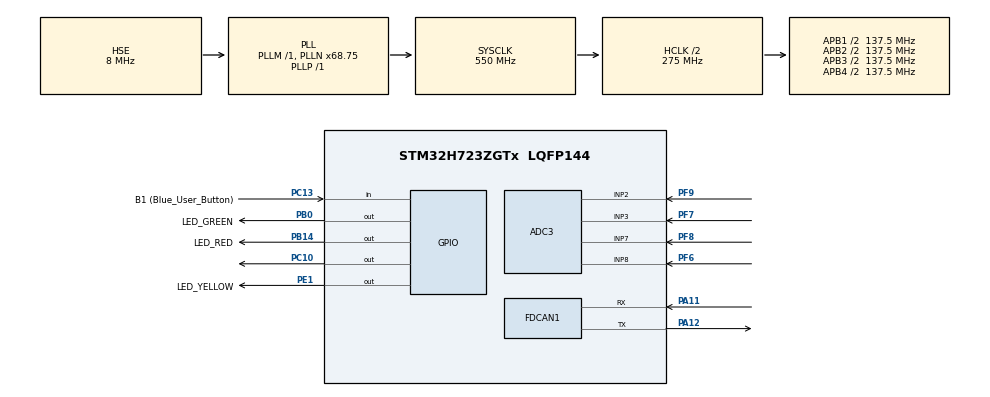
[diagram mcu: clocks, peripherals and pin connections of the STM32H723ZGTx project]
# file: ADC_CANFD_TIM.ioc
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ADC3.Channel-0\#ChannelRegularConversion=ADC_CHANNEL_8
ADC3.Channel-1\#ChannelRegularConversion=ADC_CHANNEL_3
ADC3.Channel-2\#ChannelRegularConversion=ADC_CHANNEL_7
ADC3.Channel-3\#ChannelRegularConversion=ADC_CHANNEL_2
ADC3.ClockPrescalerADC3=ADC_CLOCK_ASYNC_DIV1
ADC3.ContinuousConvMode=ENABLE
ADC3.ConversionDataManagement=ADC_CONVERSIONDATA_DMA_CIRCULAR
ADC3.DMAContinuousRequests=DISABLE
ADC3.EOCSelection=ADC_EOC_SEQ_CONV
ADC3.NbrOfConversion=4
ADC3.NbrOfConversionFlag=1
ADC3.OffsetNumber-0\#ChannelRegularConversion=ADC_OFFSET_NONE
ADC3.OffsetNumber-1\#ChannelRegularConversion=ADC_OFFSET_NONE
ADC3.OffsetNumber-2\#ChannelRegularConversion=ADC_OFFSET_NONE
ADC3.OffsetNumber-3\#ChannelRegularConversion=ADC_OFFSET_NONE
ADC3.OffsetSign-0\#ChannelRegularConversion=ADC3_OFFSET_SIGN_POSITIVE
ADC3.OffsetSign-1\#ChannelRegularConversion=ADC3_OFFSET_SIGN_POSITIVE
ADC3.OffsetSign-2\#ChannelRegularConversion=ADC3_OFFSET_SIGN_NEGATIVE
ADC3.OffsetSign-3\#ChannelRegularConversion=ADC3_OFFSET_SIGN_NEGATIVE
ADC3.Overrun=ADC_OVR_DATA_PRESERVED
ADC3.Rank-0\#ChannelRegularConversion=1
ADC3.Rank-1\#ChannelRegularConversion=2
ADC3.Rank-2\#ChannelRegularConversion=3
ADC3.Rank-3\#ChannelRegularConversion=4
ADC3.SamplingTime-0\#ChannelRegularConversion=ADC3_SAMPLETIME_12CYCLES_5
ADC3.SamplingTime-1\#ChannelRegularConversion=ADC3_SAMPLETIME_12CYCLES_5
ADC3.SamplingTime-2\#ChannelRegularConversion=ADC3_SAMPLETIME_12CYCLES_5
ADC3.SamplingTime-3\#ChannelRegularConversion=ADC3_SAMPLETIME_12CYCLES_5
CORTEX_M7.AccessPermission-Cortex_Memory_Protection_Unit_Region0_Settings=MPU_REGION_FULL_ACCESS
CORTEX_M7.BaseAddress-Cortex_Memory_Protection_Unit_Region0_Settings=0x30000000
CORTEX_M7.Enable-Cortex_Memory_Protection_Unit_Region0_Settings=MPU_REGION_ENABLE
CORTEX_M7.IsShareable-Cortex_Memory_Protection_Unit_Region0_Settings=MPU_ACCESS_SHAREABLE
CORTEX_M7.MPU_Control=MPU_HFNMI_PRIVDEF
CORTEX_M7.Size-Cortex_Memory_Protection_Unit_Region0_Settings=MPU_REGION_SIZE_32B
CORTEX_M7.TypeExtField-Cortex_Memory_Protection_Unit_Region0_Settings=MPU_TEX_LEVEL1
Dma.ADC3.0.Direction=DMA_PERIPH_TO_MEMORY
Dma.ADC3.0.EventEnable=DISABLE
Dma.ADC3.0.FIFOMode=DMA_FIFOMODE_DISABLE
Dma.ADC3.0.Instance=DMA1_Stream0
Dma.ADC3.0.MemDataAlignment=DMA_MDATAALIGN_HALFWORD
Dma.ADC3.0.MemInc=DMA_MINC_ENABLE
Dma.ADC3.0.Mode=DMA_CIRCULAR
Dma.ADC3.0.PeriphDataAlignment=DMA_PDATAALIGN_HALFWORD
Dma.ADC3.0.PeriphInc=DMA_PINC_DISABLE
Dma.ADC3.0.Polarity=HAL_DMAMUX_REQ_GEN_RISING
Dma.ADC3.0.Priority=DMA_PRIORITY_VERY_HIGH
Dma.ADC3.0.RequestNumber=1
Dma.ADC3.0.SignalID=NONE
Dma.ADC3.0.SyncEnable=DISABLE
Dma.ADC3.0.SyncPolarity=HAL_DMAMUX_SYNC_NO_EVENT
Dma.ADC3.0.SyncRequestNumber=1
Dma.ADC3.0.SyncSignalID=NONE
Dma.Request0=ADC3
FDCAN1.AutoRetransmission=ENABLE
FDCAN1.CalculateBaudRateNominal=1432291
FDCAN1.CalculateTimeBitNominal=698
FDCAN1.CalculateTimeQuantumNominal=43.63636363636363
FDCAN1.FrameFormat=FDCAN_FRAME_FD_NO_BRS
FDCAN1.Mode=FDCAN_MODE_EXTERNAL_LOOPBACK
FDCAN1.NominalPrescaler=6
FDCAN1.NominalTimeSeg1=13
FDCAN1.NominalTimeSeg2=2
FDCAN1.RxBufferSize=FDCAN_DATA_BYTES_8
FDCAN1.RxFifo0ElmtSize=FDCAN_DATA_BYTES_12
FDCAN1.RxFifo0ElmtsNbr=1
FDCAN1.StdFiltersNbr=1
FDCAN1.TxElmtSize=FDCAN_DATA_BYTES_12
FDCAN1.TxFifoQueueElmtsNbr=1
FDCAN1.TxFifoQueueMode=FDCAN_TX_FIFO_OPERATION
Mcu.Family=STM32H7
Mcu.Name=STM32H723ZGTx
Mcu.Package=LQFP144
NVIC.ADC3_IRQn=true\:0\:0\:false\:false\:true\:true\:true\:true
NVIC.DMA1_Stream0_IRQn=true\:0\:0\:false\:false\:true\:false\:true\:true
NVIC.FDCAN1_IT0_IRQn=true\:0\:0\:false\:false\:true\:true\:true\:true
NVIC.PriorityGroup=NVIC_PRIORITYGROUP_4
NVIC.TIM8_UP_TIM13_IRQn=true\:0\:0\:false\:false\:true\:true\:true\:true
PA1.GPIO_Label=RMII_REF_CLK
PA1.Signal=ETH_REF_CLK
PA11.Mode=FDCAN_Activate
PA11.Signal=FDCAN1_RX
PA12.Mode=FDCAN_Activate
PA12.Signal=FDCAN1_TX
PA13(JTMS/SWDIO).GPIO_Label=SWDIO
PA13(JTMS/SWDIO).Signal=DEBUG_JTMS-SWDIO
PA14(JTCK/SWCLK).GPIO_Label=SWCLK
PA14(JTCK/SWCLK).Signal=DEBUG_JTCK-SWCLK
PA2.GPIO_Label=RMII_MDIO
PA2.Signal=ETH_MDIO
PA7.GPIO_Label=RMII_CRS_DV
PA7.Signal=ETH_CRS_DV
PB0.GPIO_Label=LED_GREEN
PB0.Signal=GPIO_Output
PB13.GPIO_Label=RMII_TXD1
PB13.Signal=ETH_TXD1
PB14.GPIO_Label=LED_RED
PB14.Signal=GPIO_Output
PB3(JTDO/TRACESWO).GPIO_Label=SWO
PB3(JTDO/TRACESWO).Signal=DEBUG_JTDO-SWO
PC1.GPIO_Label=RMII_MDC
PC1.Signal=ETH_MDC
PC10.Signal=GPIO_Output
PC13.GPIO_Label=B1 (Blue_User_Button)
PC13.Signal=GPIO_Input
PC14-OSC32_IN.Signal=RCC_OSC32_IN
PC15-OSC32_OUT.Signal=RCC_OSC32_OUT
PC4.GPIO_Label=RMII_RXD0
PC4.Signal=ETH_RXD0
PC5.GPIO_Label=RMII_RXD1
PC5.Signal=ETH_RXD1
PD8.GPIO_Label=STLK_VCP_RX
PD8.Signal=USART3_TX
PD9.GPIO_Label=STLK_VCP_TX
PD9.Signal=USART3_RX
PE1.GPIO_Label=LED_YELLOW
PE1.Signal=GPIO_Output
PF6.Mode=IN8-Single-Ended
PF6.Signal=ADC3_INP8
PF7.Mode=IN3-Single-Ended
PF7.Signal=ADC3_INP3
PF8.Mode=IN7-Single-Ended
PF8.Signal=ADC3_INP7
PF9.Mode=IN2-Single-Ended
PF9.Signal=ADC3_INP2
PG11.GPIO_Label=RMII_TX_EN
PG11.Signal=ETH_TX_EN
PG13.GPIO_Label=RMII_TXD0
PG13.Signal=ETH_TXD0
PH0-OSC_IN.GPIO_Label=MCO
PH0-OSC_IN.Mode=HSE-External-Oscillator
PH0-OSC_IN.Signal=RCC_OSC_IN
PH1-OSC_OUT.Mode=HSE-External-Oscillator
PH1-OSC_OUT.Signal=RCC_OSC_OUT
ProjectManager.HeapSize=0x200
ProjectManager.StackSize=0x400
ProjectManager.TargetToolchain=STM32CubeIDE
RCC.ADCFreq_Value=96000000
RCC.APB1Freq_Value=137500000
RCC.APB2Freq_Value=137500000
RCC.APB3Freq_Value=137500000
RCC.APB4Freq_Value=137500000
RCC.CortexFreq_Value=550000000
RCC.D1PPRE=RCC_APB3_DIV2
RCC.D2PPRE1=RCC_APB1_DIV2
RCC.D2PPRE2=RCC_APB2_DIV2
RCC.D3PPRE=RCC_APB4_DIV2
RCC.DIVM1=1
RCC.DIVM2=1
RCC.DIVN1=68
RCC.DIVN2=24
RCC.DIVP1=1
RCC.DIVQ1=4
RCC.HCLKFreq_Value=275000000
RCC.HPRE=RCC_HCLK_DIV2
RCC.HSE_VALUE=8000000
RCC.PLL2FRACN=0
RCC.PLLFRACN=6144
RCC.PLLSourceVirtual=RCC_PLLSOURCE_HSE
RCC.SYSCLKFreq_VALUE=550000000
RCC.SYSCLKSource=RCC_SYSCLKSOURCE_PLLCLK
RCC.USBCLockSelection=RCC_USBCLKSOURCE_HSI48
RCC.USBFreq_Value=48000000
TIM8.Period=10000-1
TIM8.Prescaler=275-1
VP_TIM8_VS_ClockSourceINT.Mode=Internal
board=NUCLEO-H723ZG

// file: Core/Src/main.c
/* USER CODE BEGIN Header */
/**
  ******************************************************************************
  * @file           : main.c
  * @brief          : Main program body
  ******************************************************************************
  * @attention
  *
  * Copyright (c) 2022 STMicroelectronics.
  * All rights reserved.
  *
  * This software is licensed under terms that can be found in the LICENSE file
  * in the root directory of this software component.
  * If no LICENSE file comes with this software, it is provided AS-IS.
  *
  ******************************************************************************
  */
/* USER CODE END Header */
#include "main.h"

/* USER CODE BEGIN Includes */
#include "stdio.h"
/* USER CODE END Includes */

ADC_HandleTypeDef hadc3;
DMA_HandleTypeDef hdma_adc3;

FDCAN_HandleTypeDef hfdcan1;

TIM_HandleTypeDef htim8;

/* USER CODE BEGIN PV */

 int timer_flag = 0;
 uint16_t ADC_READS[4] = {0};

/* USER CODE END PV */

void SystemClock_Config(void);
static void MPU_Config(void);
static void MX_GPIO_Init(void);
static void MX_ADC3_Init(void);
static void MX_DMA_Init(void);
static void MX_FDCAN1_Init(void);
static void MX_TIM8_Init(void);
/* USER CODE BEGIN PFP */

int isADCcomplite=0;
FDCAN_TxHeaderTypeDef   TxHeader;
FDCAN_RxHeaderTypeDef   RxHeader;
uint8_t               TxData[64];
uint8_t               RxData[64];
int indx = 0;

/* USER CODE END PFP */

/* USER CODE BEGIN 0 */
void HAL_ADC_ConvCpltCallback(ADC_HandleTypeDef *hadc)
{
	isADCcomplite = 1;
}
void HAL_FDCAN_RxFifo0Callback(FDCAN_HandleTypeDef *hfdcan, uint32_t RxFifo0ITs)
{
  if((RxFifo0ITs & FDCAN_IT_RX_FIFO0_NEW_MESSAGE) != RESET)
  {
    /* Retreive Rx messages from RX FIFO0 */
    if (HAL_FDCAN_GetRxMessage(hfdcan, FDCAN_RX_FIFO0, &RxHeader, RxData) != HAL_OK)
    {
    /* Reception Error */
    Error_Handler();
    }
    if (HAL_FDCAN_ActivateNotification(hfdcan, FDCAN_IT_RX_FIFO0_NEW_MESSAGE, 0) != HAL_OK)
    {
      /* Notification Error */
      Error_Handler();
    }
  }
}

int _write(int file, char *ptr, int len)
{
  /* Implement your write code here, this is used by puts and printf for example */
  int i=0;
  for(i=0 ; i<len ; i++)
    ITM_SendChar((*ptr++));
  return len;
}
/* USER CODE END 0 */

int main(void)
{

  /* MPU Configuration--------------------------------------------------------*/
  MPU_Config();

  /* MCU Configuration--------------------------------------------------------*/

  /* Reset of all peripherals, Initializes the Flash interface and the Systick. */
  HAL_Init();

  /* Configure the system clock */
  SystemClock_Config();

  /* Initialize all configured peripherals */
  MX_GPIO_Init();
  MX_DMA_Init();
  MX_FDCAN1_Init();
  MX_TIM8_Init();
  /* USER CODE BEGIN 2 */
  MX_ADC3_Init();

  TxHeader.Identifier = 0x11;
  TxHeader.IdType = FDCAN_STANDARD_ID;
  TxHeader.TxFrameType = FDCAN_DATA_FRAME;
  TxHeader.DataLength = FDCAN_DLC_BYTES_12;
  TxHeader.ErrorStateIndicator = FDCAN_ESI_ACTIVE;
  TxHeader.BitRateSwitch = FDCAN_BRS_OFF;
  TxHeader.FDFormat = FDCAN_FD_CAN;
  TxHeader.TxEventFifoControl = FDCAN_NO_TX_EVENTS;
  TxHeader.MessageMarker = 0;

  /* USER CODE END 2 */

  /* Infinite loop */
  /* USER CODE BEGIN WHILE */
  if(HAL_FDCAN_Start(&hfdcan1)!= HAL_OK)
  {
	  Error_Handler();
  }
  if (HAL_FDCAN_ActivateNotification(&hfdcan1, FDCAN_IT_RX_FIFO0_NEW_MESSAGE, 0) != HAL_OK)
  {
    /* Notification Error */
    Error_Handler();
  }
  __HAL_TIM_SET_COUNTER(&htim8 , 0) ;
  __HAL_TIM_CLEAR_FLAG (&htim8, TIM_FLAG_UPDATE);
  HAL_TIM_Base_Start_IT(&htim8) ;
  while (1)
  {

	  if(timer_flag)
	  {
		  int status = HAL_ADC_Start_DMA(&hadc3, (uint32_t*)ADC_READS, 4);
		  while(isADCcomplite == 0);
		  isADCcomplite = 0;
		  if(status == HAL_OK)
		  {
			  HAL_ADC_Stop_DMA(&hadc3);
			  for (int i=0; i<8; i+=2)
			  {
			   TxData[i] = (uint8_t) ADC_READS[i/2]  ;
			   TxData[i+1] = (uint8_t) (ADC_READS[i/2] >> 8);
			  }

			  if (HAL_FDCAN_AddMessageToTxFifoQ(&hfdcan1, &TxHeader, TxData)!= HAL_OK)
			  {
			   Error_Handler();
			  }
			  timer_flag = 0;
			  HAL_GPIO_TogglePin(GPIOC, GPIO_PIN_10);
				__HAL_TIM_SET_COUNTER(&htim8 , 0) ;
		  }
//		  HAL_Delay(100);
	  }

    /* USER CODE END WHILE */

  }
}

void SystemClock_Config(void)
{
  RCC_OscInitTypeDef RCC_OscInitStruct = {0};
  RCC_ClkInitTypeDef RCC_ClkInitStruct = {0};

  /** Supply configuration update enable
  */
  HAL_PWREx_ConfigSupply(PWR_LDO_SUPPLY);

  /** Configure the main internal regulator output voltage
  */
  __HAL_PWR_VOLTAGESCALING_CONFIG(PWR_REGULATOR_VOLTAGE_SCALE0);

  while(!__HAL_PWR_GET_FLAG(PWR_FLAG_VOSRDY)) {}

  /** Macro to configure the PLL clock source
  */
  __HAL_RCC_PLL_PLLSOURCE_CONFIG(RCC_PLLSOURCE_HSE);

  /** Initializes the RCC Oscillators according to the specified parameters
  * in the RCC_OscInitTypeDef structure.
  */
  RCC_OscInitStruct.OscillatorType = RCC_OSCILLATORTYPE_HSE;
  RCC_OscInitStruct.HSEState = RCC_HSE_ON;
  RCC_OscInitStruct.PLL.PLLState = RCC_PLL_ON;
  RCC_OscInitStruct.PLL.PLLSource = RCC_PLLSOURCE_HSE;
  RCC_OscInitStruct.PLL.PLLM = 1;
  RCC_OscInitStruct.PLL.PLLN = 68;
  RCC_OscInitStruct.PLL.PLLP = 1;
  RCC_OscInitStruct.PLL.PLLQ = 4;
  RCC_OscInitStruct.PLL.PLLR = 2;
  RCC_OscInitStruct.PLL.PLLRGE = RCC_PLL1VCIRANGE_3;
  RCC_OscInitStruct.PLL.PLLVCOSEL = RCC_PLL1VCOWIDE;
  RCC_OscInitStruct.PLL.PLLFRACN = 6144;
  if (HAL_RCC_OscConfig(&RCC_OscInitStruct) != HAL_OK)
  {
    Error_Handler();
  }

  /** Initializes the CPU, AHB and APB buses clocks
  */
  RCC_ClkInitStruct.ClockType = RCC_CLOCKTYPE_HCLK|RCC_CLOCKTYPE_SYSCLK
                              |RCC_CLOCKTYPE_PCLK1|RCC_CLOCKTYPE_PCLK2
                              |RCC_CLOCKTYPE_D3PCLK1|RCC_CLOCKTYPE_D1PCLK1;
  RCC_ClkInitStruct.SYSCLKSource = RCC_SYSCLKSOURCE_PLLCLK;
  RCC_ClkInitStruct.SYSCLKDivider = RCC_SYSCLK_DIV1;
  RCC_ClkInitStruct.AHBCLKDivider = RCC_HCLK_DIV2;
  RCC_ClkInitStruct.APB3CLKDivider = RCC_APB3_DIV2;
  RCC_ClkInitStruct.APB1CLKDivider = RCC_APB1_DIV2;
  RCC_ClkInitStruct.APB2CLKDivider = RCC_APB2_DIV2;
  RCC_ClkInitStruct.APB4CLKDivider = RCC_APB4_DIV2;

  if (HAL_RCC_ClockConfig(&RCC_ClkInitStruct, FLASH_LATENCY_3) != HAL_OK)
  {
    Error_Handler();
  }
}

static void MX_ADC3_Init(void)
{

  ADC_ChannelConfTypeDef sConfig = {0};

  /** Common config
  */
  hadc3.Instance = ADC3;
  hadc3.Init.ClockPrescaler = ADC_CLOCK_ASYNC_DIV1;
  hadc3.Init.Resolution = ADC_RESOLUTION_12B;
  hadc3.Init.DataAlign = ADC3_DATAALIGN_RIGHT;
  hadc3.Init.ScanConvMode = ADC_SCAN_ENABLE;
  hadc3.Init.EOCSelection = ADC_EOC_SEQ_CONV;
  hadc3.Init.LowPowerAutoWait = DISABLE;
  hadc3.Init.ContinuousConvMode = ENABLE;
  hadc3.Init.NbrOfConversion = 4;
  hadc3.Init.DiscontinuousConvMode = DISABLE;
  hadc3.Init.ExternalTrigConv = ADC_SOFTWARE_START;
  hadc3.Init.ExternalTrigConvEdge = ADC_EXTERNALTRIGCONVEDGE_NONE;
  hadc3.Init.DMAContinuousRequests = DISABLE;
  hadc3.Init.SamplingMode = ADC_SAMPLING_MODE_NORMAL;
  hadc3.Init.ConversionDataManagement = ADC_CONVERSIONDATA_DMA_CIRCULAR;
  hadc3.Init.Overrun = ADC_OVR_DATA_PRESERVED;
  hadc3.Init.LeftBitShift = ADC_LEFTBITSHIFT_NONE;
  hadc3.Init.OversamplingMode = DISABLE;
  if (HAL_ADC_Init(&hadc3) != HAL_OK)
  {
    Error_Handler();
  }

  /** Configure Regular Channel
  */
  sConfig.Channel = ADC_CHANNEL_8;
  sConfig.Rank = ADC_REGULAR_RANK_1;
  sConfig.SamplingTime = ADC3_SAMPLETIME_12CYCLES_5;
  sConfig.SingleDiff = ADC_SINGLE_ENDED;
  sConfig.OffsetNumber = ADC_OFFSET_NONE;
  sConfig.Offset = 0;
  sConfig.OffsetSign = ADC3_OFFSET_SIGN_POSITIVE;
  if (HAL_ADC_ConfigChannel(&hadc3, &sConfig) != HAL_OK)
  {
    Error_Handler();
  }

  /** Configure Regular Channel
  */
  sConfig.Channel = ADC_CHANNEL_3;
  sConfig.Rank = ADC_REGULAR_RANK_2;
  if (HAL_ADC_ConfigChannel(&hadc3, &sConfig) != HAL_OK)
  {
    Error_Handler();
  }

  /** Configure Regular Channel
  */
  sConfig.Channel = ADC_CHANNEL_7;
  sConfig.Rank = ADC_REGULAR_RANK_3;
  sConfig.OffsetSign = ADC3_OFFSET_SIGN_NEGATIVE;
  if (HAL_ADC_ConfigChannel(&hadc3, &sConfig) != HAL_OK)
  {
    Error_Handler();
  }

  /** Configure Regular Channel
  */
  sConfig.Channel = ADC_CHANNEL_2;
  sConfig.Rank = ADC_REGULAR_RANK_4;
  if (HAL_ADC_ConfigChannel(&hadc3, &sConfig) != HAL_OK)
  {
    Error_Handler();
  }

}

static void MX_FDCAN1_Init(void)
{

  hfdcan1.Instance = FDCAN1;
  hfdcan1.Init.FrameFormat = FDCAN_FRAME_FD_NO_BRS;
  hfdcan1.Init.Mode = FDCAN_MODE_EXTERNAL_LOOPBACK;
  hfdcan1.Init.AutoRetransmission = ENABLE;
  hfdcan1.Init.TransmitPause = DISABLE;
  hfdcan1.Init.ProtocolException = DISABLE;
  hfdcan1.Init.NominalPrescaler = 6;
  hfdcan1.Init.NominalSyncJumpWidth = 1;
  hfdcan1.Init.NominalTimeSeg1 = 13;
  hfdcan1.Init.NominalTimeSeg2 = 2;
  hfdcan1.Init.DataPrescaler = 1;
  hfdcan1.Init.DataSyncJumpWidth = 1;
  hfdcan1.Init.DataTimeSeg1 = 1;
  hfdcan1.Init.DataTimeSeg2 = 1;
  hfdcan1.Init.MessageRAMOffset = 0;
  hfdcan1.Init.StdFiltersNbr = 1;
  hfdcan1.Init.ExtFiltersNbr = 0;
  hfdcan1.Init.RxFifo0ElmtsNbr = 1;
  hfdcan1.Init.RxFifo0ElmtSize = FDCAN_DATA_BYTES_12;
  hfdcan1.Init.RxFifo1ElmtsNbr = 0;
  hfdcan1.Init.RxFifo1ElmtSize = FDCAN_DATA_BYTES_8;
  hfdcan1.Init.RxBuffersNbr = 0;
  hfdcan1.Init.RxBufferSize = FDCAN_DATA_BYTES_8;
  hfdcan1.Init.TxEventsNbr = 0;
  hfdcan1.Init.TxBuffersNbr = 0;
  hfdcan1.Init.TxFifoQueueElmtsNbr = 1;
  hfdcan1.Init.TxFifoQueueMode = FDCAN_TX_FIFO_OPERATION;
  hfdcan1.Init.TxElmtSize = FDCAN_DATA_BYTES_12;
  if (HAL_FDCAN_Init(&hfdcan1) != HAL_OK)
  {
    Error_Handler();
  }
  /* USER CODE BEGIN FDCAN1_Init 2 */

  FDCAN_FilterTypeDef sFilterConfig;

  sFilterConfig.IdType = FDCAN_STANDARD_ID;
  sFilterConfig.FilterIndex = 0;
  sFilterConfig.FilterType = FDCAN_FILTER_MASK;
  sFilterConfig.FilterConfig = FDCAN_FILTER_TO_RXFIFO0;
  sFilterConfig.FilterID1 = 0x11;
  sFilterConfig.FilterID2 = 0x11;
  sFilterConfig.RxBufferIndex = 0;
  if (HAL_FDCAN_ConfigFilter(&hfdcan1, &sFilterConfig) != HAL_OK)
  {
    /* Filter configuration Error */
    Error_Handler();
  }

  /* USER CODE END FDCAN1_Init 2 */

}

static void MX_TIM8_Init(void)
{

  TIM_ClockConfigTypeDef sClockSourceConfig = {0};
  TIM_MasterConfigTypeDef sMasterConfig = {0};

  htim8.Instance = TIM8;
  htim8.Init.Prescaler = 275-1;
  htim8.Init.CounterMode = TIM_COUNTERMODE_UP;
  htim8.Init.Period = 10000-1;
  htim8.Init.ClockDivision = TIM_CLOCKDIVISION_DIV1;
  htim8.Init.RepetitionCounter = 0;
  htim8.Init.AutoReloadPreload = TIM_AUTORELOAD_PRELOAD_DISABLE;
  if (HAL_TIM_Base_Init(&htim8) != HAL_OK)
  {
    Error_Handler();
  }
  sClockSourceConfig.ClockSource = TIM_CLOCKSOURCE_INTERNAL;
  if (HAL_TIM_ConfigClockSource(&htim8, &sClockSourceConfig) != HAL_OK)
  {
    Error_Handler();
  }
  sMasterConfig.MasterOutputTrigger = TIM_TRGO_RESET;
  sMasterConfig.MasterOutputTrigger2 = TIM_TRGO2_RESET;
  sMasterConfig.MasterSlaveMode = TIM_MASTERSLAVEMODE_DISABLE;
  if (HAL_TIMEx_MasterConfigSynchronization(&htim8, &sMasterConfig) != HAL_OK)
  {
    Error_Handler();
  }

}

static void MX_DMA_Init(void)
{

  /* DMA controller clock enable */
  __HAL_RCC_DMA1_CLK_ENABLE();

  /* DMA interrupt init */
  /* DMA1_Stream0_IRQn interrupt configuration */
  HAL_NVIC_SetPriority(DMA1_Stream0_IRQn, 0, 0);
  HAL_NVIC_EnableIRQ(DMA1_Stream0_IRQn);

}

static void MX_GPIO_Init(void)
{
  GPIO_InitTypeDef GPIO_InitStruct = {0};

  /* GPIO Ports Clock Enable */
  __HAL_RCC_GPIOC_CLK_ENABLE();
  __HAL_RCC_GPIOF_CLK_ENABLE();
  __HAL_RCC_GPIOH_CLK_ENABLE();
  __HAL_RCC_GPIOA_CLK_ENABLE();
  __HAL_RCC_GPIOB_CLK_ENABLE();
  __HAL_RCC_GPIOD_CLK_ENABLE();
  __HAL_RCC_GPIOG_CLK_ENABLE();
  __HAL_RCC_GPIOE_CLK_ENABLE();

  /*Configure GPIO pin Output Level */
  HAL_GPIO_WritePin(GPIOB, LED_GREEN_Pin|LED_RED_Pin, GPIO_PIN_RESET);

  /*Configure GPIO pin Output Level */
  HAL_GPIO_WritePin(GPIOC, GPIO_PIN_10, GPIO_PIN_RESET);

  /*Configure GPIO pin Output Level */
  HAL_GPIO_WritePin(LED_YELLOW_GPIO_Port, LED_YELLOW_Pin, GPIO_PIN_RESET);

  /*Configure GPIO pin : B1_Pin */
  GPIO_InitStruct.Pin = B1_Pin;
  GPIO_InitStruct.Mode = GPIO_MODE_INPUT;
  GPIO_InitStruct.Pull = GPIO_NOPULL;
  HAL_GPIO_Init(B1_GPIO_Port, &GPIO_InitStruct);

  /*Configure GPIO pins : RMII_MDC_Pin RMII_RXD0_Pin RMII_RXD1_Pin */
  GPIO_InitStruct.Pin = RMII_MDC_Pin|RMII_RXD0_Pin|RMII_RXD1_Pin;
  GPIO_InitStruct.Mode = GPIO_MODE_AF_PP;
  GPIO_InitStruct.Pull = GPIO_NOPULL;
  GPIO_InitStruct.Speed = GPIO_SPEED_FREQ_LOW;
  GPIO_InitStruct.Alternate = GPIO_AF11_ETH;
  HAL_GPIO_Init(GPIOC, &GPIO_InitStruct);

  /*Configure GPIO pins : RMII_REF_CLK_Pin RMII_MDIO_Pin RMII_CRS_DV_Pin */
  GPIO_InitStruct.Pin = RMII_REF_CLK_Pin|RMII_MDIO_Pin|RMII_CRS_DV_Pin;
  GPIO_InitStruct.Mode = GPIO_MODE_AF_PP;
  GPIO_InitStruct.Pull = GPIO_NOPULL;
  GPIO_InitStruct.Speed = GPIO_SPEED_FREQ_LOW;
  GPIO_InitStruct.Alternate = GPIO_AF11_ETH;
  HAL_GPIO_Init(GPIOA, &GPIO_InitStruct);

  /*Configure GPIO pins : LED_GREEN_Pin LED_RED_Pin */
  GPIO_InitStruct.Pin = LED_GREEN_Pin|LED_RED_Pin;
  GPIO_InitStruct.Mode = GPIO_MODE_OUTPUT_PP;
  GPIO_InitStruct.Pull = GPIO_NOPULL;
  GPIO_InitStruct.Speed = GPIO_SPEED_FREQ_LOW;
  HAL_GPIO_Init(GPIOB, &GPIO_InitStruct);

  /*Configure GPIO pin : RMII_TXD1_Pin */
  GPIO_InitStruct.Pin = RMII_TXD1_Pin;
  GPIO_InitStruct.Mode = GPIO_MODE_AF_PP;
  GPIO_InitStruct.Pull = GPIO_NOPULL;
  GPIO_InitStruct.Speed = GPIO_SPEED_FREQ_LOW;
  GPIO_InitStruct.Alternate = GPIO_AF11_ETH;
  HAL_GPIO_Init(RMII_TXD1_GPIO_Port, &GPIO_InitStruct);

  /*Configure GPIO pins : STLK_VCP_RX_Pin STLK_VCP_TX_Pin */
  GPIO_InitStruct.Pin = STLK_VCP_RX_Pin|STLK_VCP_TX_Pin;
  GPIO_InitStruct.Mode = GPIO_MODE_AF_PP;
  GPIO_InitStruct.Pull = GPIO_NOPULL;
  GPIO_InitStruct.Speed = GPIO_SPEED_FREQ_LOW;
  GPIO_InitStruct.Alternate = GPIO_AF7_USART3;
  HAL_GPIO_Init(GPIOD, &GPIO_InitStruct);

  /*Configure GPIO pin : PC10 */
  GPIO_InitStruct.Pin = GPIO_PIN_10;
  GPIO_InitStruct.Mode = GPIO_MODE_OUTPUT_PP;
  GPIO_InitStruct.Pull = GPIO_NOPULL;
  GPIO_InitStruct.Speed = GPIO_SPEED_FREQ_LOW;
  HAL_GPIO_Init(GPIOC, &GPIO_InitStruct);

  /*Configure GPIO pins : RMII_TX_EN_Pin RMII_TXD0_Pin */
  GPIO_InitStruct.Pin = RMII_TX_EN_Pin|RMII_TXD0_Pin;
  GPIO_InitStruct.Mode = GPIO_MODE_AF_PP;
  GPIO_InitStruct.Pull = GPIO_NOPULL;
  GPIO_InitStruct.Speed = GPIO_SPEED_FREQ_LOW;
  GPIO_InitStruct.Alternate = GPIO_AF11_ETH;
  HAL_GPIO_Init(GPIOG, &GPIO_InitStruct);

  /*Configure GPIO pin : LED_YELLOW_Pin */
  GPIO_InitStruct.Pin = LED_YELLOW_Pin;
  GPIO_InitStruct.Mode = GPIO_MODE_OUTPUT_PP;
  GPIO_InitStruct.Pull = GPIO_NOPULL;
  GPIO_InitStruct.Speed = GPIO_SPEED_FREQ_LOW;
  HAL_GPIO_Init(LED_YELLOW_GPIO_Port, &GPIO_InitStruct);

}

/* MPU Configuration */

void MPU_Config(void)
{
  MPU_Region_InitTypeDef MPU_InitStruct = {0};

  /* Disables the MPU */
  HAL_MPU_Disable();

  /** Initializes and configures the Region and the memory to be protected
  */
  MPU_InitStruct.Enable = MPU_REGION_ENABLE;
  MPU_InitStruct.Number = MPU_REGION_NUMBER0;
  MPU_InitStruct.BaseAddress = 0x30000000;
  MPU_InitStruct.Size = MPU_REGION_SIZE_32B;
  MPU_InitStruct.SubRegionDisable = 0x0;
  MPU_InitStruct.TypeExtField = MPU_TEX_LEVEL1;
  MPU_InitStruct.AccessPermission = MPU_REGION_FULL_ACCESS;
  MPU_InitStruct.DisableExec = MPU_INSTRUCTION_ACCESS_ENABLE;
  MPU_InitStruct.IsShareable = MPU_ACCESS_SHAREABLE;
  MPU_InitStruct.IsCacheable = MPU_ACCESS_NOT_CACHEABLE;
  MPU_InitStruct.IsBufferable = MPU_ACCESS_NOT_BUFFERABLE;

  HAL_MPU_ConfigRegion(&MPU_InitStruct);
  /* Enables the MPU */
  HAL_MPU_Enable(MPU_HFNMI_PRIVDEF);

}

void Error_Handler(void)
{
  __disable_irq();
  while (1)
  {
  }
}
